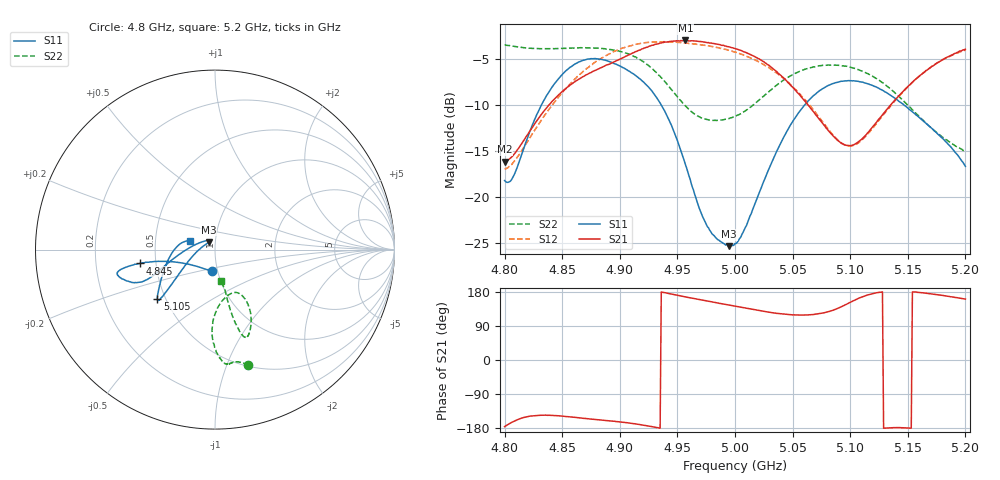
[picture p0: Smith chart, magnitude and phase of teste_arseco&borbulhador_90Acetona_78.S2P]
! Network Analyzer HP8722D
! Hewlett-Packard
! Data name: Linha & Wilkinson
! Saver's name: Rodrigo Anjos
! Comments: Teste da utilização de aquisição
! continua pelo VNA HP8722D
! Time and date: 17/4/2025 11:42
!  Frequency  S11  S21  S12  S22
# HZ  S  MA R 50
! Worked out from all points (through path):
!   401 points, 4.8 GHz to 5.2 GHz, reference 50 ohm
!   highest |S21| = -3.04 dB at 4.957 GHz (marker M1); lowest = -16.2 dB at 4.8 GHz (marker M2)
!   lowest |S11| = -25.3 dB at 4.995 GHz (marker M3), VSWR 1.11, Z = 46.5 + j3.92 ohm
!   |S11| at or under -10 dB: start of sweep to 4.832 GHz; 4.936 GHz to 5.061 GHz (124.8 MHz wide, 2.5 % of centre); 5.146 GHz to end of sweep
!   |S22| runs from -15.0 to -3.5 dB; largest |S21 - S12| = 0.85
!   S11 on the Smith chart (normalised r, x): 4.8 GHz: 0.93, -0.23; 4.845 GHz: 0.41, -0.08; 5.105 GHz: 0.45, -0.30; 5.2 GHz: 0.75, +0.07
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4.8e9  0.1228 -99.1  0.1553 -175.9  0.142 -121.2  0.6675 -73.9
4.808e9  0.1309 -131.8  0.17 -161.6  0.1549 -107.1  0.6552 -75.5
4.828e9  0.2804 -166.4  0.2596 -146.3  0.2398 -89.6  0.637 -79.1
4.845e9  0.4236 -169.5  0.3481 -146.9  0.3369 -87.6  0.6364 -81.1
4.867e9  0.5468 -167.6  0.4442 -153.4  0.471 -91.5  0.6429 -83.3
4.883e9  0.5574 -164.5  0.4997 -158.3  0.5599 -97.2  0.6386 -84.8
4.902e9  0.5043 -159.2  0.5657 -164.0  0.64 -104.8  0.6106 -87.0
4.934e9  0.3309 -159.5  0.678 -179.4  0.6947 -119.1  0.4557 -92.1
4.945e9  0.2431 -167.0  0.6974 174.0  0.6913 -124.0  0.3811 -91.0
4.957e9  0.1497 177.8  0.7045 166.6  0.6824 -129.2  0.3114 -85.9
4.976e9  0.06915 134.1  0.685 155.6  0.659 -137.6  0.2629 -72.5
4.995e9  0.05419 129.3  0.6505 144.8  0.6218 -146.2  0.2664 -63.7
5e9  0.056 140.5  0.6369 141.9  0.6109 -148.4  0.2728 -62.0
5.009e9  0.06853 163.8  0.6082 137.0  0.5828 -152.4  0.2929 -59.6
5.031e9  0.1495 -158.8  0.5076 125.5  0.4941 -160.8  0.3801 -59.6
5.049e9  0.2501 -145.2  0.3983 119.5  0.4021 -165.3  0.4565 -63.9
5.067e9  0.3486 -139.6  0.2955 119.9  0.3027 -164.7  0.5039 -67.9
5.091e9  0.4213 -138.0  0.1985 138.6  0.1989 -145.0  0.5162 -71.1
5.105e9  0.4243 -139.2  0.1951 159.5  0.1929 -122.3  0.4942 -72.6
5.134e9  0.3589 -148.4  0.3094 -178.9  0.3046 -97.9  0.3893 -75.1
5.165e9  0.2525 -171.7  0.4787 176.5  0.478 -100.4  0.2541 -76.1
5.2e9  0.1467 160.6  0.6311 160.8  0.6261 -113.6  0.1769 -79.0
